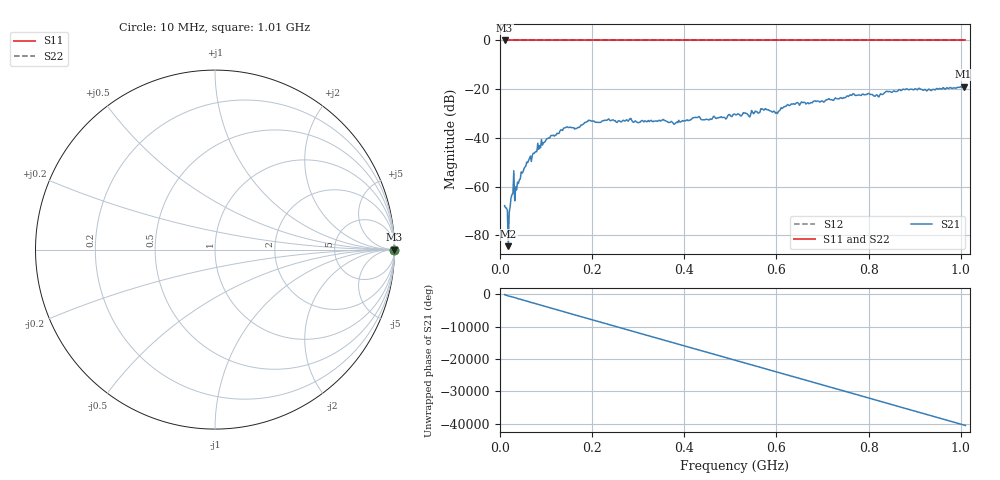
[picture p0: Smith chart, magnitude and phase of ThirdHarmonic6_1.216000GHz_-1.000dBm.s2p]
! 8/16/2025 12:43:16 PM
! C:\ANRITSUVNA\TEMP\TEMP.S2P
! CHANNEL.1
! TR.MEASUREMENT
! RAW.DATA
! RF.CORRECTION.OFF
! AVERAGING.OFF
! IF.BANDWIDTH: 5KHZ
! SWEEPTYPE:  FREQ.SWEEP(Linear)
! Reference Plane Port Info
! PORT:  PORT1  PORT2
! DISTANCE:  0  m  0  m
! TIME:  0  s  0  s
! PHASE.OFFSET:  0  deg.  0  deg.
! LOSS:  0  dB  0  dB
! REF.LOSS:  0  dB  0  dB
! REF.FREQ:  0  Hz  0  Hz
! Power Info
! POWER:  -20  dBm  -20  dBm
! EFF.POWER:  -20  dBm  -20  dBm
! SOURCE.ATTEN:  0  dB  0  dB
! TEST.ATTEN:  0  dB  0  dB
# GHZ S RI R 50.0
! FREQ.GHZ  S11RE  S11IM  S21RE  S21IM  S12RE  S12IM  S22RE  S22IM
!; PortSelection: Port_12
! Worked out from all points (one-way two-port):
!   501 points, 10 MHz to 1.01 GHz, reference 50 ohm
!   highest |S21| = -18.93 dB at 1.006 GHz (marker M1); lowest = -84.5 dB at 18 MHz (marker M2)
!   lowest |S11| = 0.0 dB at 10 MHz (marker M3)
!   |S11| at or under -10 dB: nowhere
!   |S22| runs from 0.0 to 0.0 dB; largest |S21 - S12| = 1.1
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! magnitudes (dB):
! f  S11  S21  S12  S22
! 10 MHz  0.0  -67.9  0.0  0.0
! 18 MHz  0.0  -84.5  0.0  0.0
! 22 MHz  0.0  -68.3  0.0  0.0
! 26 MHz  0.0  -63.3  0.0  0.0
! 34 MHz  0.0  -60.2  0.0  0.0
! 36 MHz  0.0  -61.4  0.0  0.0
! 62 MHz  0.0  -49.3  0.0  0.0
! 86 MHz  0.0  -43.2  0.0  0.0
! 142 MHz  0.0  -35.8  0.0  0.0
! 178 MHz  0.0  -34.7  0.0  0.0
! 196 MHz  0.0  -32.9  0.0  0.0
! 344 MHz  0.0  -32.9  0.0  0.0
! 380 MHz  0.0  -34.1  0.0  0.0
! 510 MHz  0.0  -30.3  0.0  0.0
! 540 MHz  0.0  -30.9  0.0  0.0
! 570 MHz  0.0  -28.2  0.0  0.0
! 602 MHz  0.0  -30.0  0.0  0.0
! 622 MHz  0.0  -26.8  0.0  0.0
! 678 MHz  0.0  -25.6  0.0  0.0
! 844 MHz  0.0  -20.9  0.0  0.0
! 1.006 GHz  0.0  -18.9  0.0  0.0
! 1.01 GHz  0.0  -19.9  0.0  0.0
